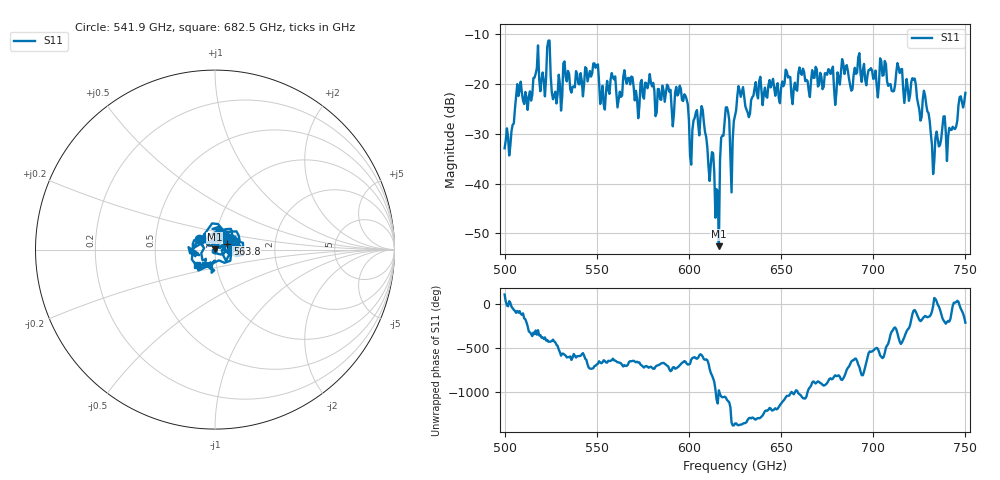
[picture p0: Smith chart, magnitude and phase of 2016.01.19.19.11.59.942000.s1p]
!Created with skrf (http://scikit-rf.org).
# GHz S RI R 50.0
!freq ReS11 ImS11
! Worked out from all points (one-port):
!   401 points, 500 GHz to 750 GHz, reference 50 ohm
!   lowest |S11| = -52.6 dB at 616.2 GHz (marker M1), VSWR 1.00, Z = 50 + j0.233 ohm
!   |S11| at or under -10 dB: start of sweep to end of sweep
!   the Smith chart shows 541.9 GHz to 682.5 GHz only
!   S11 on the Smith chart (normalised r, x): 541.9 GHz: 0.83, +0.10; 563.8 GHz: 1.15, +0.08; 682.5 GHz: 0.80, -0.14
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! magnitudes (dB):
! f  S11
! 500 GHz  -32.9
! 516.9 GHz  -17.9
! 531.2 GHz  -22.5
! 541.9 GHz  -19.4
! 549.4 GHz  -16.8
! 553.1 GHz  -20.4
! 558.8 GHz  -18.7
! 562.5 GHz  -21.6
! 563.8 GHz  -22.3
! 593.8 GHz  -22.3
! 601.2 GHz  -36.2
! 607.5 GHz  -25.2
! 615 GHz  -41.1
! 616.2 GHz  -52.6
! 619.4 GHz  -27.5
! 623.1 GHz  -41.8
! 625 GHz  -26.4
! 628.1 GHz  -22.6
! 631.9 GHz  -25.7
! 637.5 GHz  -22.9
! 656.2 GHz  -24.1
! 682.5 GHz  -17.6
! 687.5 GHz  -20.3
! 714.4 GHz  -17.8
! 718.8 GHz  -20.9
! 728.1 GHz  -22.3
! 732.5 GHz  -38.1
! 750 GHz  -21.8
